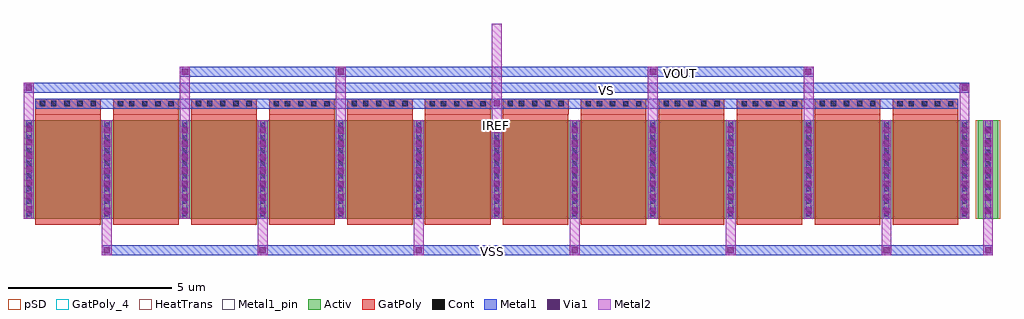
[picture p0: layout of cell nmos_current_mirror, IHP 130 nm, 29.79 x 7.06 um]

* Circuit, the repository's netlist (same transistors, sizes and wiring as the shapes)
* Extracted by KLayout with SG13G2 LVS runset on : 08/05/2024 14:23

* cell nmos_current_mirror
* pin VS
* pin VOUT
* pin IREF
* pin VSS
.SUBCKT nmos_current_mirror VS VOUT IREF VSS
* device instance $1 r0 *1 0.736,1.102 sg13_lv_nmos
M$1 VS IREF VSS VSS sg13_lv_nmos W=6.0 L=2.0
* device instance $2 r0 *1 3.116,1.102 sg13_lv_nmos
M$2 VSS IREF VOUT VSS sg13_lv_nmos W=24.0 L=2.0
* device instance $6 r0 *1 12.636,1.102 sg13_lv_nmos
M$6 VSS IREF IREF VSS sg13_lv_nmos W=6.0 L=2.0
.ENDS nmos_current_mirror

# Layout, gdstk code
import gdstk
lib = gdstk.Library(unit=1e-6, precision=1e-09)
def R(c, l, rs):  # rectangles x0, y0, x1, y1
    for r in rs: c.add(gdstk.rectangle(r[:2], r[2:], *l))
def A(c, l, x, y, w, h, nx, ny, dx, dy):  # array of equal rectangles
    R(c, l, [(x+i*dx, y+j*dy, x+i*dx+w, y+j*dy+h) for i in range(nx) for j in range(ny)])
Activ = (1, 0)
GatPoly = (5, 0)
GatPoly_4 = (5, 4)
Cont = (6, 0)
Metal1 = (8, 0)
Metal1_pin = (8, 2)
Metal2 = (10, 0)
pSD = (14, 0)
Via1 = (19, 0)
HeatTrans = (51, 0)

nmos_1 = lib.new_cell('nmos$1')
A(nmos_1, Activ, 0, 0, 0.3, 0.3, 13, 1, 2.38, 0)
R(nmos_1, Activ, [(0,0,28.86,3)])
A(nmos_1, GatPoly, 0.34, -0.18, 2, 3.36, 12, 1, 2.38, 0)
R(nmos_1, GatPoly_4, [(0.34,-0.18,2.34,3.18), (0.34,-0.18,2.34,3.18)])
A(nmos_1, Cont, 0.07, 0.07, 0.16, 0.16, 13, 7, 2.38, 0.385)
A(nmos_1, Cont, 0.07, 2.77, 0.16, 0.16, 13, 1, 2.38, 0)
A(nmos_1, Metal1, 0.07, 0, 0.16, 3, 13, 1, 2.38, 0)
R(nmos_1, Metal1_pin, [(0.07,0,0.23,3), (0.07,0,0.23,3), (2.45,0,2.61,3), (2.45,0,2.61,3)])
A(nmos_1, HeatTrans, 0.34, -0.18, 2, 3.36, 12, 1, 2.38, 0)
nmos_1.add(gdstk.Label('nmos', (1.34,1.5), layer=51, texttype=0))
nmos_1.add(gdstk.Label('nmos', (3.72,1.5), layer=51, texttype=0))
nmos_1.add(gdstk.Label('nmos', (6.1,1.5), layer=51, texttype=0))
nmos_1.add(gdstk.Label('nmos', (8.48,1.5), layer=51, texttype=0))
nmos_1.add(gdstk.Label('nmos', (10.86,1.5), layer=51, texttype=0))
nmos_1.add(gdstk.Label('nmos', (13.24,1.5), layer=51, texttype=0))
nmos_1.add(gdstk.Label('nmos', (15.62,1.5), layer=51, texttype=0))
nmos_1.add(gdstk.Label('nmos', (18,1.5), layer=51, texttype=0))
nmos_1.add(gdstk.Label('nmos', (20.38,1.5), layer=51, texttype=0))
nmos_1.add(gdstk.Label('nmos', (22.76,1.5), layer=51, texttype=0))
nmos_1.add(gdstk.Label('nmos', (25.14,1.5), layer=51, texttype=0))
nmos_1.add(gdstk.Label('nmos', (27.52,1.5), layer=51, texttype=0))

nmos_current_mirror = lib.new_cell('nmos_current_mirror')
R(nmos_current_mirror, Activ, [(28.516,-0.4,29.128,2.6)])
A(nmos_current_mirror, GatPoly, -0.264, 2.782, 2.001, 0.48, 12, 1, 2.38, 0)
A(nmos_current_mirror, Cont, 28.742, -0.21, 0.16, 0.16, 1, 4, 0, 0.35)
A(nmos_current_mirror, Cont, 28.742, 1.193, 0.16, 0.16, 1, 4, 0, 0.35)
A(nmos_current_mirror, Cont, 2.258, 3.028, 0.16, 0.16, 6, 1, 4.76, 0)
A(nmos_current_mirror, Cont, -0.12, 3.036, 0.16, 0.16, 6, 1, 4.76, 0)
R(nmos_current_mirror, Cont, [(2.602,3.03,2.762,3.19), (3.003,3.03,3.163,3.19), (3.403,3.03,3.563,3.19), (3.804,3.03,3.964,3.19), (7.362,3.03,7.522,3.19), (7.763,3.03,7.923,3.19), (8.163,3.03,8.323,3.19), (8.564,3.03,8.724,3.19), (12.122,3.03,12.282,3.19), (12.523,3.03,12.683,3.19), (12.923,3.03,13.083,3.19), (13.324,3.03,13.484,3.19), (16.882,3.03,17.042,3.19), (17.283,3.03,17.443,3.19), (17.683,3.03,17.843,3.19), (18.084,3.03,18.244,3.19), (21.642,3.03,21.802,3.19), (22.043,3.03,22.203,3.19), (22.443,3.03,22.603,3.19), (22.844,3.03,23.004,3.19), (26.402,3.03,26.562,3.19), (26.803,3.03,26.963,3.19), (27.203,3.03,27.363,3.19), (27.604,3.03,27.764,3.19), (0.224,3.038,0.384,3.198), (0.625,3.038,0.785,3.198), (1.025,3.038,1.185,3.198), (1.426,3.038,1.586,3.198), (4.984,3.038,5.144,3.198), (5.385,3.038,5.545,3.198), (5.785,3.038,5.945,3.198), (6.186,3.038,6.346,3.198), (9.744,3.038,9.904,3.198), (10.145,3.038,10.305,3.198), (10.545,3.038,10.705,3.198), (10.946,3.038,11.106,3.198), (14.504,3.038,14.664,3.198), (14.905,3.038,15.065,3.198), (15.305,3.038,15.465,3.198), (15.706,3.038,15.866,3.198), (19.264,3.038,19.424,3.198), (19.665,3.038,19.825,3.198), (20.065,3.038,20.225,3.198), (20.466,3.038,20.626,3.198), (24.024,3.038,24.184,3.198), (24.425,3.038,24.585,3.198), (24.825,3.038,24.985,3.198), (25.226,3.038,25.386,3.198)])
R(nmos_current_mirror, Metal1, [(1.776,-1.512,28.972,-1.212), (28.742,-0.4,28.902,2.6), (-0.264,2.962,27.918,3.262), (-0.604,3.446,28.256,3.746), (4.156,3.931,23.496,4.231)])
R(nmos_current_mirror, Metal2, [(11.296,-1.514,11.596,2.6), (28.672,-1.514,28.972,2.6), (25.576,-1.513,25.876,2.601), (1.776,-1.512,2.076,2.602), (6.536,-1.512,6.836,2.602), (16.056,-1.511,16.356,2.603), (20.816,-1.511,21.116,2.603), (-0.604,-0.398,-0.304,3.746), (4.156,-0.398,4.456,4.231), (8.916,-0.398,9.216,4.231), (13.676,-0.398,13.976,5.548), (18.436,-0.398,18.736,4.231), (23.196,-0.398,23.496,4.231), (27.956,-0.398,28.256,3.716)])
R(nmos_current_mirror, pSD, [(28.45,-0.4,29.188,2.6)])
A(nmos_current_mirror, Via1, 8.97, -0.261, 0.19, 0.19, 1, 7, 0, 0.41)
A(nmos_current_mirror, Via1, 1.834, -0.258, 0.19, 0.19, 1, 7, 0, 0.41)
A(nmos_current_mirror, Via1, 6.589, -0.257, 0.19, 0.19, 1, 7, 0, 0.41)
A(nmos_current_mirror, Via1, 4.209, -0.255, 0.19, 0.19, 1, 7, 0, 0.41)
A(nmos_current_mirror, Via1, 11.348, -0.254, 0.19, 0.19, 1, 7, 0, 0.41)
A(nmos_current_mirror, Via1, 28.012, -0.253, 0.19, 0.19, 1, 7, 0, 0.41)
A(nmos_current_mirror, Via1, 28.727, -0.253, 0.19, 0.19, 1, 7, 0, 0.41)
A(nmos_current_mirror, Via1, 25.627, -0.252, 0.19, 0.19, 1, 7, 0, 0.41)
A(nmos_current_mirror, Via1, 13.73, -0.249, 0.19, 0.19, 1, 7, 0, 0.41)
A(nmos_current_mirror, Via1, 18.491, -0.249, 0.19, 0.19, 1, 7, 0, 0.41)
A(nmos_current_mirror, Via1, 16.11, -0.247, 0.19, 0.19, 1, 7, 0, 0.41)
A(nmos_current_mirror, Via1, 23.25, -0.245, 0.19, 0.19, 1, 7, 0, 0.41)
A(nmos_current_mirror, Via1, 20.87, -0.236, 0.19, 0.19, 1, 7, 0, 0.41)
A(nmos_current_mirror, Via1, -0.542, -0.214, 0.19, 0.19, 1, 7, 0, 0.41)
R(nmos_current_mirror, Via1, [(11.353,-1.46,11.543,-1.27), (1.826,-1.458,2.016,-1.268), (25.63,-1.458,25.82,-1.268), (28.737,-1.458,28.927,-1.268), (20.868,-1.457,21.058,-1.267), (6.584,-1.456,6.774,-1.266), (16.109,-1.454,16.299,-1.264), (13.728,3.031,13.918,3.221), (28.014,3.505,28.204,3.695), (-0.555,3.508,-0.365,3.698), (4.215,3.987,4.405,4.177), (18.498,3.988,18.688,4.178), (23.244,3.994,23.434,4.184), (8.969,3.995,9.159,4.185)])
nmos_current_mirror.add(gdstk.Reference(nmos_1, (-0.604,-0.398)))
nmos_current_mirror.add(gdstk.Label('VSS', (13.697,-1.404), layer=8, texttype=1))
nmos_current_mirror.add(gdstk.Label('VOUT', (19.446,4.022), layer=8, texttype=1))
nmos_current_mirror.add(gdstk.Label('VS', (17.185,3.523), layer=8, texttype=1))
nmos_current_mirror.add(gdstk.Label('IREF', (13.805,2.45), layer=8, texttype=1))

lib.write_gds('nmos_current_mirror.gds')
